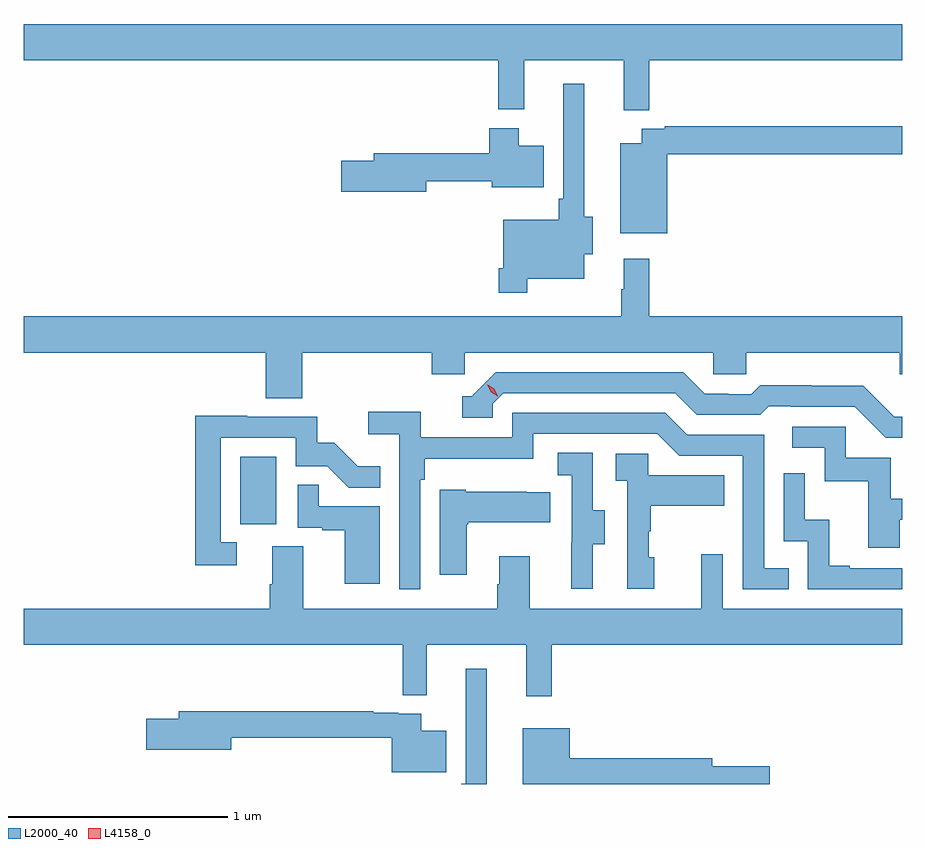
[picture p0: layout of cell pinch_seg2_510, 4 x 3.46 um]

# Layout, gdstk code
import gdstk
lib = gdstk.Library(unit=1e-6, precision=1e-09)
def R(c, l, rs):  # rectangles x0, y0, x1, y1
    for r in rs: c.add(gdstk.rectangle(r[:2], r[2:], *l))
def P(c, l, *ps):  # polygons
    for p in ps: c.add(gdstk.Polygon(p, *l))
L2000_40 = (2000, 40)
L4158_0 = (4158, 0)

pinch_seg2_510 = lib.new_cell('pinch_seg2_510')
R(pinch_seg2_510, L2000_40, [(1008.698,598.902,1008.862,599.209)])
P(pinch_seg2_510, L2000_40, [(1010.561,601.016),(1011.713,601.016),(1011.713,601.18),(1007.713,601.18),(1007.713,601.016),(1009.873,601.016),(1009.873,600.791),(1009.991,600.791),(1009.991,601.016),(1010.444,601.016),(1010.444,600.787),(1010.561,600.787)],
  [(1010.005,600.02),(1010.266,600.02),(1010.266,600.131),(1010.305,600.131),(1010.305,600.302),(1010.266,600.302),(1010.266,600.907),(1010.169,600.907),(1010.169,600.385),(1010.149,600.385),(1010.149,600.289),(1009.896,600.289),(1009.896,600.067),(1009.876,600.067),(1009.876,599.955),(1010.005,599.955)],
  [(1010.644,600.586),(1011.713,600.586),(1011.713,600.715),(1010.632,600.715),(1010.632,600.702),(1010.528,600.702),(1010.528,600.637),(1010.429,600.637),(1010.429,600.227),(1010.644,600.227)],
  [(1009.546,600.463),(1009.844,600.463),(1009.844,600.437),(1010.08,600.437),(1010.08,600.625),(1009.966,600.625),(1009.966,600.706),(1009.832,600.706),(1009.832,600.592),(1009.307,600.592),(1009.307,600.558),(1009.158,600.558),(1009.158,600.416),(1009.546,600.416)],
  [(1008.98,599.684),(1009.571,599.684),(1009.571,599.586),(1009.722,599.586),(1009.722,599.684),(1010.853,599.684),(1010.853,599.586),(1011.003,599.586),(1011.003,599.684),(1011.701,599.684),(1011.701,599.586),(1011.713,599.586),(1011.713,599.848),(1010.561,599.848),(1010.561,600.112),(1010.444,600.112),(1010.444,599.972),(1010.433,599.972),(1010.433,599.848),(1007.713,599.848),(1007.713,599.684),(1008.815,599.684),(1008.815,599.476),(1008.98,599.476)],
  [(1011.713,599.391),(1011.678,599.391),(1011.536,599.533),(1011.3,599.533),(1011.3,599.536),(1011.067,599.536),(1011.025,599.493),(1010.922,599.493),(1010.922,599.496),(1010.815,599.496),(1010.716,599.595),(1009.863,599.595),(1009.752,599.484),(1009.709,599.484),(1009.709,599.388),(1009.848,599.388),(1009.848,599.451),(1009.896,599.499),(1010.679,599.499),(1010.778,599.4),(1011.067,599.4),(1011.106,599.439),(1011.205,599.439),(1011.205,599.436),(1011.498,599.436),(1011.639,599.295),(1011.713,599.295)],
  [(1009.518,599.105),(1009.538,599.105),(1009.538,599.201),(1010.034,599.201),(1010.034,599.313),(1010.598,599.313),(1010.697,599.214),(1010.988,599.214),(1010.988,598.605),(1011.197,598.605),(1011.197,598.701),(1011.084,598.701),(1011.084,599.31),(1010.734,599.31),(1010.635,599.409),(1009.938,599.409),(1009.938,599.298),(1009.52,599.298),(1009.52,599.414),(1009.281,599.414),(1009.281,599.312),(1009.422,599.312),(1009.422,598.605),(1009.518,598.605)],
  [(1008.682,598.821),(1008.609,598.821),(1008.609,599.295),(1008.951,599.295),(1008.951,599.166),(1009.095,599.166),(1009.193,599.068),(1009.337,599.068),(1009.337,599.167),(1009.233,599.167),(1009.126,599.274),(1009.05,599.274),(1009.05,599.391),(1008.731,599.391),(1008.731,599.396),(1008.493,599.396),(1008.493,598.716),(1008.682,598.716)],
  [(1011.703,598.923),(1011.713,598.923),(1011.713,599.019),(1011.661,599.019),(1011.661,599.205),(1011.456,599.205),(1011.456,599.346),(1011.213,599.346),(1011.213,599.25),(1011.36,599.25),(1011.36,599.097),(1011.559,599.097),(1011.559,598.794),(1011.703,598.794)],
  [(1010.305,598.81),(1010.359,598.81),(1010.359,598.965),(1010.304,598.965),(1010.304,599.228),(1010.145,599.228),(1010.145,599.125),(1010.208,599.125),(1010.208,598.821),(1010.207,598.821),(1010.207,598.608),(1010.305,598.608)],
  [(1010.584,598.752),(1010.559,598.752),(1010.559,598.871),(1010.569,598.871),(1010.569,598.985),(1010.903,598.985),(1010.903,599.125),(1010.556,599.125),(1010.556,599.223),(1010.409,599.223),(1010.409,599.099),(1010.46,599.099),(1010.46,598.608),(1010.584,598.608)],
  [(1011.713,598.701),(1011.475,598.701),(1011.475,598.714),(1011.38,598.714),(1011.38,598.922),(1011.27,598.922),(1011.27,599.134),(1011.174,599.134),(1011.174,598.824),(1011.282,598.824),(1011.282,598.605),(1011.713,598.605)],
  [(1009.333,598.983),(1009.055,598.983),(1009.055,599.081),(1008.96,599.081),(1008.96,598.887),(1009.071,598.887),(1009.071,598.875),(1009.175,598.875),(1009.175,598.632),(1009.333,598.632)],
  [(1009.729,598.903),(1009.737,598.903),(1009.737,598.91),(1010.111,598.91),(1010.111,599.047),(1010.003,599.047),(1010.003,599.05),(1009.725,599.05),(1009.725,599.059),(1009.607,599.059),(1009.607,598.671),(1009.729,598.671)],
  [(1010.117,598.352),(1011.713,598.352),(1011.713,598.516),(1010.895,598.516),(1010.895,598.765),(1010.798,598.765),(1010.798,598.516),(1010.017,598.516),(1010.017,598.756),(1009.877,598.756),(1009.877,598.628),(1009.87,598.628),(1009.87,598.516),(1008.985,598.516),(1008.985,598.802),(1008.845,598.802),(1008.845,598.628),(1008.833,598.628),(1008.833,598.516),(1007.713,598.516),(1007.713,598.352),(1009.438,598.352),(1009.438,598.123),(1009.547,598.123),(1009.547,598.352),(1010,598.352),(1010,598.119),(1010.117,598.119)],
  [(1009.822,598.243),(1009.725,598.243),(1009.725,597.721),(1009.705,597.721),(1009.705,597.719),(1009.822,597.719)],
  [(1009.636,597.961),(1009.522,597.961),(1009.522,598.038),(1009.418,598.038),(1009.418,598.044),(1009.304,598.044),(1009.304,598.051),(1008.419,598.051),(1008.419,598.017),(1008.27,598.017),(1008.27,597.875),(1008.658,597.875),(1008.658,597.93),(1009.388,597.93),(1009.388,597.773),(1009.636,597.773)],
  [(1011.109,597.8),(1010.848,597.8),(1010.848,597.836),(1010.2,597.836),(1010.2,597.973),(1009.985,597.973),(1009.985,597.719),(1011.109,597.719)])
P(pinch_seg2_510, L4158_0, [(1009.872,599.485),(1009.841,599.504),(1009.824,599.537),(1009.824,599.537),(1009.825,599.537),(1009.856,599.518),(1009.872,599.485),(1009.872,599.485)])

lib.write_gds('pinch_seg2_510.gds')
